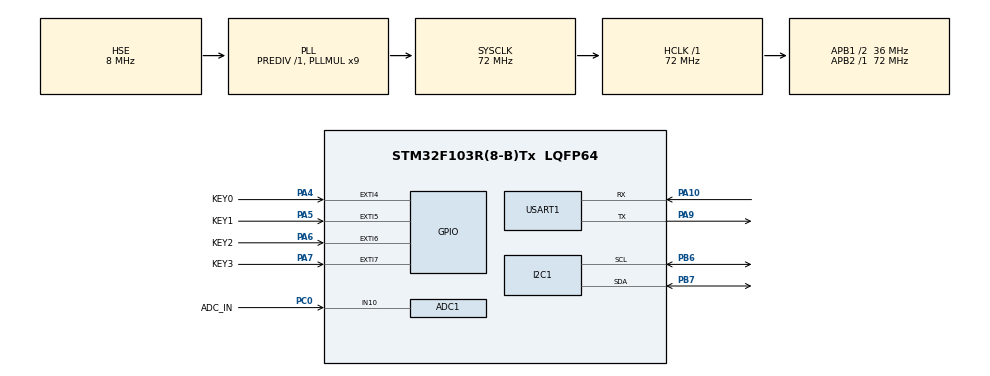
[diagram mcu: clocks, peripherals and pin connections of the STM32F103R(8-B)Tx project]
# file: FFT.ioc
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ADC1.Channel-0\#ChannelRegularConversion=ADC_CHANNEL_10
ADC1.ExternalTrigConv=ADC_EXTERNALTRIGCONV_T3_TRGO
ADC1.NbrOfConversionFlag=1
ADC1.Rank-0\#ChannelRegularConversion=1
ADC1.SamplingTime-0\#ChannelRegularConversion=ADC_SAMPLETIME_239CYCLES_5
ADC1.master=1
Dma.ADC1.0.Direction=DMA_PERIPH_TO_MEMORY
Dma.ADC1.0.Instance=DMA1_Channel1
Dma.ADC1.0.MemDataAlignment=DMA_MDATAALIGN_HALFWORD
Dma.ADC1.0.MemInc=DMA_MINC_ENABLE
Dma.ADC1.0.Mode=DMA_CIRCULAR
Dma.ADC1.0.PeriphDataAlignment=DMA_PDATAALIGN_HALFWORD
Dma.ADC1.0.PeriphInc=DMA_PINC_DISABLE
Dma.ADC1.0.Priority=DMA_PRIORITY_LOW
Dma.Request0=ADC1
Mcu.Family=STM32F1
Mcu.Name=STM32F103R(8-B)Tx
Mcu.Package=LQFP64
NVIC.DMA1_Channel1_IRQn=true\:0\:0\:false\:false\:true\:false\:true\:true
NVIC.PriorityGroup=NVIC_PRIORITYGROUP_4
NVIC.TIM2_IRQn=true\:0\:0\:false\:false\:true\:true\:true\:true
PA10.Mode=Asynchronous
PA10.Signal=USART1_RX
PA13.Mode=Serial_Wire
PA13.Signal=SYS_JTMS-SWDIO
PA14.Mode=Serial_Wire
PA14.Signal=SYS_JTCK-SWCLK
PA4.GPIO_Label=KEY0
PA4.Signal=GPXTI4
PA5.GPIO_Label=KEY1
PA5.Signal=GPXTI5
PA6.GPIO_Label=KEY2
PA6.Signal=GPXTI6
PA7.GPIO_Label=KEY3
PA7.Signal=GPXTI7
PA9.Mode=Asynchronous
PA9.Signal=USART1_TX
PB6.Mode=I2C
PB6.Signal=I2C1_SCL
PB7.Mode=I2C
PB7.Signal=I2C1_SDA
PC0.GPIO_Label=ADC_IN
PC0.Signal=ADCx_IN10
PD0-OSC_IN.Mode=HSE-External-Oscillator
PD0-OSC_IN.Signal=RCC_OSC_IN
PD1-OSC_OUT.Mode=HSE-External-Oscillator
PD1-OSC_OUT.Signal=RCC_OSC_OUT
ProjectManager.HeapSize=0x200
ProjectManager.StackSize=0x400
ProjectManager.TargetToolchain=CMake
RCC.ADCPresc=RCC_ADCPCLK2_DIV6
RCC.AHBFreq_Value=72000000
RCC.APB1CLKDivider=RCC_HCLK_DIV2
RCC.APB1Freq_Value=36000000
RCC.APB1TimFreq_Value=72000000
RCC.APB2Freq_Value=72000000
RCC.APB2TimFreq_Value=72000000
RCC.HCLKFreq_Value=72000000
RCC.PLLMUL=RCC_PLL_MUL9
RCC.PLLSourceVirtual=RCC_PLLSOURCE_HSE
RCC.SYSCLKFreq_VALUE=72000000
RCC.SYSCLKSource=RCC_SYSCLKSOURCE_PLLCLK
RCC.USBFreq_Value=72000000
SH.ADCx_IN10.0=ADC1_IN10,IN10
STMicroelectronics.X-CUBE-ALGOBUILD.1.4.0.LibraryCcDSPOoLibraryJjDSPOoLibrary=true
TIM2.Period=1000-1
TIM2.Prescaler=72-1
TIM3.Period=100-1
TIM3.Prescaler=72-1
TIM3.TIM_MasterOutputTrigger=TIM_TRGO_UPDATE
USART1.VirtualMode=VM_ASYNC
VP_STMicroelectronics.X-CUBE-ALGOBUILD_VS_DSPOoLibraryJjLibrary_1.4.0_1.4.0.Mode=DSPOoLibraryJjLibrary
VP_TIM2_VS_ClockSourceINT.Mode=Internal
VP_TIM3_VS_ClockSourceINT.Mode=Internal
board=custom

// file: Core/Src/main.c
/* USER CODE BEGIN Header */
/**
  ******************************************************************************
  * 自233-尹鸿宇-U202342240
  ******************************************************************************
  */
/* USER CODE END Header */
#include "main.h"
#include "adc.h"
#include "dma.h"
#include "i2c.h"
#include "tim.h"
#include "usart.h"
#include "gpio.h"

/* USER CODE BEGIN Includes */
#include <stdio.h>
#include "key_press.h"
#include "fft.h"
#include "function.h"
#include "oled.h"
#include "show_data.h"
#include "private_typedef.h"
/* USER CODE END Includes */

/* USER CODE BEGIN PD */
#define ADC_BUFFER_SIZE 1024
#define FFT_LEN 1024
/* USER CODE END PD */

void SystemClock_Config(void);

int main(void)
{

  /* MCU Configuration--------------------------------------------------------*/

  /* Reset of all peripherals, Initializes the Flash interface and the Systick. */
  HAL_Init();

  /* USER CODE BEGIN Init */
  FFT_Init();
  /* USER CODE END Init */

  /* Configure the system clock */
  SystemClock_Config();

  /* Initialize all configured peripherals */
  MX_GPIO_Init();
  MX_DMA_Init();
  MX_USART1_UART_Init();
  MX_TIM2_Init();
  MX_I2C1_Init();
  MX_ADC1_Init();
  MX_TIM3_Init();
  /* USER CODE BEGIN 2 */
  HAL_ADCEx_Calibration_Start(&hadc1);

  HAL_ADC_Start_DMA(&hadc1, (uint32_t*)adcbuf_flag.raw, system_config.adc_buffer_size);

  HAL_TIM_Base_Start(&htim3);

  actual_vdda = ADC_GetVDDA();

  HAL_TIM_Base_Start_IT(&htim2);
  HAL_Delay(20);
  OLED_Init();
  //加入一个开屏动画
  Open_OLED_Show();

  /* USER CODE END 2 */

  /* Infinite loop */
  while (1)
  {

    /* USER CODE BEGIN 3 */
    //依旧是按键检测
    key1_pressed();
    key2_pressed();
    key0_pressed();
    key3_pressed();

    if (adcbuf_flag.data_ready)
    {
      adcbuf_flag.data_ready = 0;

      switch (display_state.mode)
      {
      case SINGLE_WAVE_Input:
        single_wave_input_function();
        break;
      case MULTI_WAVE_Input:
        multi_wave_input_function();
        break;
      }
    }
  }
  /* USER CODE END 3 */
}

void SystemClock_Config(void)
{
  RCC_OscInitTypeDef RCC_OscInitStruct = {0};
  RCC_ClkInitTypeDef RCC_ClkInitStruct = {0};
  RCC_PeriphCLKInitTypeDef PeriphClkInit = {0};

  /** Initializes the RCC Oscillators according to the specified parameters
  * in the RCC_OscInitTypeDef structure.
  */
  RCC_OscInitStruct.OscillatorType = RCC_OSCILLATORTYPE_HSE;
  RCC_OscInitStruct.HSEState = RCC_HSE_ON;
  RCC_OscInitStruct.HSEPredivValue = RCC_HSE_PREDIV_DIV1;
  RCC_OscInitStruct.HSIState = RCC_HSI_ON;
  RCC_OscInitStruct.PLL.PLLState = RCC_PLL_ON;
  RCC_OscInitStruct.PLL.PLLSource = RCC_PLLSOURCE_HSE;
  RCC_OscInitStruct.PLL.PLLMUL = RCC_PLL_MUL9;
  if (HAL_RCC_OscConfig(&RCC_OscInitStruct) != HAL_OK)
  {
    Error_Handler();
  }

  /** Initializes the CPU, AHB and APB buses clocks
  */
  RCC_ClkInitStruct.ClockType = RCC_CLOCKTYPE_HCLK|RCC_CLOCKTYPE_SYSCLK
                              |RCC_CLOCKTYPE_PCLK1|RCC_CLOCKTYPE_PCLK2;
  RCC_ClkInitStruct.SYSCLKSource = RCC_SYSCLKSOURCE_PLLCLK;
  RCC_ClkInitStruct.AHBCLKDivider = RCC_SYSCLK_DIV1;
  RCC_ClkInitStruct.APB1CLKDivider = RCC_HCLK_DIV2;
  RCC_ClkInitStruct.APB2CLKDivider = RCC_HCLK_DIV1;

  if (HAL_RCC_ClockConfig(&RCC_ClkInitStruct, FLASH_LATENCY_2) != HAL_OK)
  {
    Error_Handler();
  }
  PeriphClkInit.PeriphClockSelection = RCC_PERIPHCLK_ADC;
  PeriphClkInit.AdcClockSelection = RCC_ADCPCLK2_DIV6;
  if (HAL_RCCEx_PeriphCLKConfig(&PeriphClkInit) != HAL_OK)
  {
    Error_Handler();
  }
}

/* USER CODE BEGIN 4 */
#ifdef __GNUC__
#define PUTCHAR_PROTOTYPE int __io_putchar(int ch)
#else
#define PUTCHAR_PROTOTYPE int fputc(int ch, FILE *f)
#endif

PUTCHAR_PROTOTYPE
{
  HAL_UART_Transmit(&huart1, (uint8_t *)&ch, 1, HAL_MAX_DELAY);
  return ch;
}

void HAL_TIM_PeriodElapsedCallback(TIM_HandleTypeDef *htim)
{
  if (htim->Instance == TIM2)
  {
    for (int i = 0; i < KEY_COUNT; i++)
    {
      Key_Press(all_keys[i].key, all_keys[i].pin, all_keys[i].port);
    }
  }
}

void HAL_ADC_ConvCpltCallback(ADC_HandleTypeDef* hadc)
{
  if (hadc->Instance == ADC1)
  {
    // 快速复制原始ADC数据
    memcpy(adcbuf_flag.snapshot, adcbuf_flag.raw, sizeof(adcbuf_flag.snapshot));
    adcbuf_flag.data_ready = 1;
  }
}
/* USER CODE END 4 */

void Error_Handler(void)
{
  __disable_irq();
  while (1)
  {
  }
}
